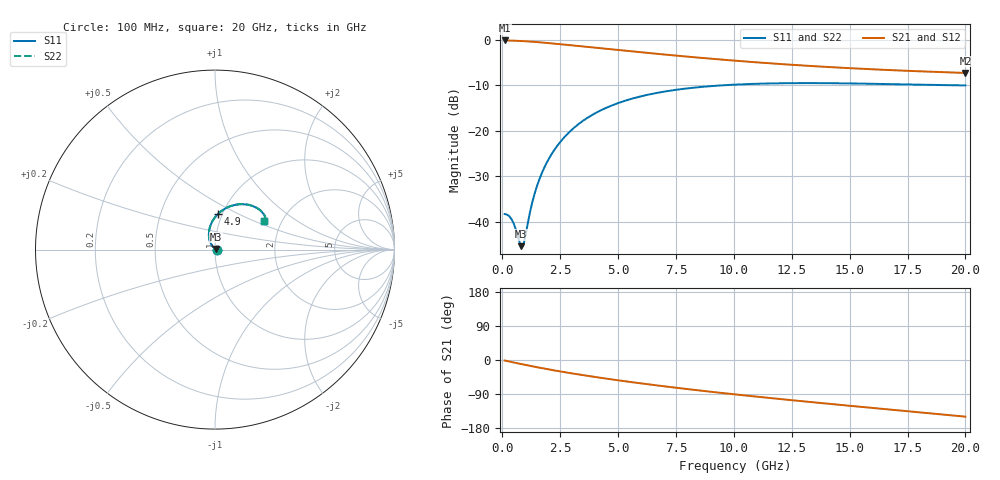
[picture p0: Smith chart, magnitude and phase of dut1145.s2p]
! Touchstone file exported from HFSS 2024.1.0
!  File:  C:/UserFiles/LocalFiles/RDL_TSV_Batchsim/temp_RDL_TSV_1145_1780115612.aedt
!  Generated:  12:49:22 PM May 30, 2026
!  Design:  RDL_TSV
!  Project:  temp_RDL_TSV_1145_1780115612
!  Setup:  Setup1
!  Solution:  Sweep
! Variables:
!  dtsv = 7.67um
!  hbump = 3um
!  htsv = 86.89um
!  ldown = 243.91um
!  lrdl = 265.81um
!  p = 40
!  p1 = 48.4um
!  rhole = 10um
!  subl = 1794.97um
!  t = 450um
!  tdown = 4.49um
!  trdl = 3.48um
!  viad = 10um
!  wdown = 29.93um
!  wrdl = 11.99um
!  xbump = 18um
# GHz S MA R 50.000000
! Terminal data exported
! Port[1] = TM1_1_T1
! Port[2] = TM1_4_T1
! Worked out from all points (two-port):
!   200 points, 100 MHz to 20 GHz, reference 50 ohm
!   highest |S21| = -0.11 dB at 100 MHz (marker M1); lowest = -7.3 dB at 20 GHz (marker M2)
!   |S21| within 3 dB of the highest: start of sweep to 6.805 GHz
!   lowest |S11| = -45.4 dB at 800 MHz (marker M3), VSWR 1.01, Z = 50.4 + j0.395 ohm
!   |S11| at or under -10 dB: start of sweep to 9.448 GHz
!   |S22| runs from -45.4 to -9.5 dB; largest |S21 - S12| = 8.5e-15
!   S11 on the Smith chart (normalised r, x): 100 MHz: 1.02, +0.00; 4.9 GHz: 0.95, +0.39; 20 GHz: 1.63, +0.58
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0.1  0.01215 2.3  0.9875 -1.3  0.9875 -1.3  0.01215 2.3
! Gamma 0 0 0 0
! Port Impedance 50 0 50 0
0.3  0.01152 5.2  0.9852 -4.0  0.9852 -4.0  0.01151 5.2
0.4  0.01066 6.8  0.9836 -5.3  0.9836 -5.3  0.01065 6.8
0.6  0.00801 15.4  0.9794 -7.9  0.9794 -7.9  0.007999 15.4
0.8  0.005387 46.7  0.974 -10.5  0.974 -10.5  0.005376 46.9
0.9  0.005417 75.5  0.9709 -11.7  0.9709 -11.7  0.005418 75.8
1  0.006976 99.4  0.9676 -13.0  0.9676 -13.0  0.006993 99.6
1.2  0.01287 120.0  0.9601 -15.4  0.9601 -15.4  0.01291 120.2
1.4  0.02054 125.4  0.9519 -17.8  0.9519 -17.8  0.0206 125.5
1.6  0.02924 126.0  0.943 -20.2  0.943 -20.2  0.02932 126.1
1.9  0.04364 123.8  0.9287 -23.6  0.9287 -23.6  0.04375 123.9
2.2  0.05914 120.2  0.9137 -26.9  0.9137 -26.9  0.05929 120.3
2.6  0.08076 114.7  0.8932 -31.2  0.8932 -31.2  0.08096 114.8
3.5  0.1298 102.3  0.8471 -40.1  0.8471 -40.1  0.1301 102.3
4.2  0.1655 93.5  0.8127 -46.6  0.8127 -46.6  0.1659 93.5
4.9  0.1977 85.5  0.7798 -52.7  0.7798 -52.7  0.1982 85.6
6.8  0.265 68.1  0.6993 -68.0  0.6993 -68.0  0.2657 68.1
8.4  0.3009 57.0  0.6416 -79.6  0.6416 -79.6  0.3018 57.1
10.1  0.3231 47.9  0.5901 -91.1  0.5901 -91.1  0.324 48.0
13.4  0.3353 36.3  0.5157 -111.5  0.5157 -111.5  0.3364 36.4
16.7  0.3269 30.8  0.4666 -130.6  0.4666 -130.6  0.328 30.9
20  0.3164 30.3  0.4338 -149.5  0.4338 -149.5  0.3175 30.4
